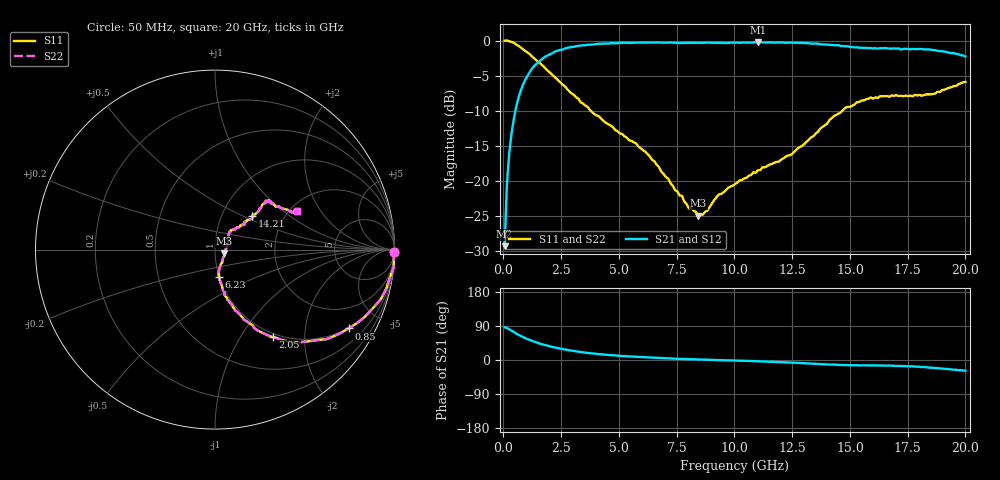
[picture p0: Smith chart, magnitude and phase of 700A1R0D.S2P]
!  American Technical Ceramics  Date:  3/13/98
!  One Norden Lane
!  Huntington Station,  NY.  11746-2102
!  Tel:  (516) 547-5700  Fax:  (516) 547-5748
!  Part Number  700A1R0D
!  Description: Porcelain, High Q, Low ESR
!  Application: Bypass, Coupling, Timing, Feedback
!  Tuning, Impedance Match, Blocking
# GHZ S DB R 50
! Freq  |S11|  S11 Ph  |S21|  S21 Ph  |S12|  S12 Ph  |S22|  S22 Ph
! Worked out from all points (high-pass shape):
!   201 points, 50 MHz to 20 GHz, reference 50 ohm
!   highest |S21| = -0.24 dB at 11.02 GHz (marker M1); lowest = -29.3 dB at 50 MHz (marker M2)
!   |S21| within 3 dB of the highest: 1.46 GHz to end of sweep
!   lowest |S11| = -25.0 dB at 8.43 GHz (marker M3), VSWR 1.12, Z = 55.5 - j2.39 ohm
!   |S11| at or under -10 dB: 3.776 GHz to 14.68 GHz (10.9 GHz wide, 118 % of centre)
!   |S22| runs from -25.0 to 0.0 dB; largest |S21 - S12| = 0
!   S11 on the Smith chart (normalised r, x): 50 MHz: open; 850 MHz: 0.98, -3.40; 2.05 GHz: 0.95, -1.40; 6.23 GHz: 1.00, -0.31; 14.21 GHz: 1.40, +0.56; 20 GHz: 2.20, +1.27
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0.05  -0.03 -0.9  -29.32 86.5  -29.32 86.5  -0.03 -0.9
0.15  0.01 -5.7  -20.51 84.6  -20.51 84.6  0.01 -5.7
0.25  -0.12 -9.2  -16.10 80.9  -16.10 80.9  -0.12 -9.2
0.35  -0.19 -13.0  -13.23 77.3  -13.23 77.3  -0.19 -13.0
0.55  -0.57 -20.6  -9.45 69.7  -9.45 69.7  -0.57 -20.6
0.85  -1.27 -30.6  -6.27 60.4  -6.27 60.4  -1.27 -30.6
1.35  -2.62 -43.5  -3.56 48.0  -3.56 48.0  -2.62 -43.5
2.05  -4.67 -56.5  -1.92 35.4  -1.92 35.4  -4.67 -56.5
3.44  -8.98 -71.9  -0.68 20.4  -0.68 20.4  -8.98 -71.9
6.23  -16.16 -81.4  -0.29 6.8  -0.29 6.8  -16.16 -81.4
6.73  -18.05 -80.0  -0.27 5.2  -0.27 5.2  -18.05 -80.0
8.03  -23.95 -45.1  -0.34 2.3  -0.34 2.3  -23.95 -45.1
8.43  -24.95 -22.3  -0.32 1.5  -0.32 1.5  -24.95 -22.3
10.03  -20.45 37.9  -0.31 -1.6  -0.31 -1.6  -20.45 37.9
11.02  -18.49 49.2  -0.24 -3.6  -0.24 -3.6  -18.49 49.2
12.42  -16.34 47.3  -0.29 -6.8  -0.29 -6.8  -16.34 47.3
13.42  -13.65 42.5  -0.45 -9.8  -0.45 -9.8  -13.65 42.5
14.21  -11.07 41.7  -0.62 -11.8  -0.62 -11.8  -11.07 41.7
15.31  -8.79 43.7  -0.95 -13.8  -0.95 -13.8  -8.79 43.7
16.71  -8.02 42.6  -1.14 -14.7  -1.14 -14.7  -8.02 42.6
18.5  -7.67 36.1  -1.30 -20.3  -1.30 -20.3  -7.67 36.1
20  -5.90 25.0  -2.27 -28.2  -2.27 -28.2  -5.90 25.0
